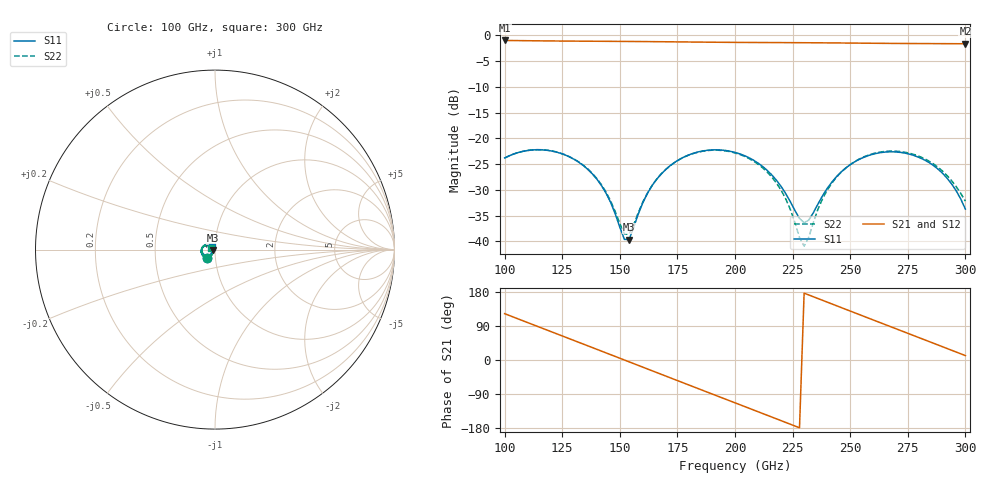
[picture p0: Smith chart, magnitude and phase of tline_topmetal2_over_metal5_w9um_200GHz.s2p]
#  GHZ S DB R 50
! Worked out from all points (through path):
!   101 points, 100 GHz to 300 GHz, reference 50 ohm
!   highest |S21| = -1.02 dB at 100 GHz (marker M1); lowest = -1.7 dB at 300 GHz (marker M2)
!   group delay of S21, straight-line fit = 6.54 ps
!   lowest |S11| = -39.6 dB at 154 GHz (marker M3), VSWR 1.02, Z = 49.1 - j0.445 ohm
!   |S11| at or under -10 dB: start of sweep to end of sweep
!   |S22| runs from -40.9 to -22.2 dB; largest |S21 - S12| = 9.9e-14
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100  -23.81 -132.9  -1.02 122.3  -1.02 122.3  -23.82 -134.0
116  -22.22 -168.1  -1.10 84.6  -1.10 84.6  -22.21 -168.3
124  -22.86 174.7  -1.13 65.9  -1.13 65.9  -22.83 174.8
134  -25.22 154.7  -1.16 42.4  -1.16 42.4  -25.15 155.3
142  -29.13 142.6  -1.18 23.6  -1.18 23.6  -28.98 144.0
152  -39.59 175.3  -1.21 -0.0  -1.21 -0.0  -38.50 175.7
154  -39.64 -154.2  -1.22 -4.7  -1.22 -4.7  -38.64 -158.0
160  -32.47 -119.5  -1.24 -18.9  -1.24 -18.9  -32.34 -123.3
168  -26.89 -125.4  -1.27 -37.8  -1.27 -37.8  -26.89 -127.7
184  -22.64 -155.3  -1.34 -75.5  -1.34 -75.5  -22.68 -157.1
200  -22.73 172.6  -1.39 -113.0  -1.39 -113.0  -22.83 170.1
210  -24.79 154.5  -1.42 -136.5  -1.42 -136.5  -25.01 150.6
218  -28.13 144.6  -1.43 -155.3  -1.43 -155.3  -28.67 138.0
230  -36.35 -177.6  -1.46 176.4  -1.46 176.4  -40.91 -172.3
234  -34.43 -146.5  -1.47 166.9  -1.47 166.9  -36.31 -127.4
240  -29.73 -134.3  -1.49 152.8  -1.49 152.8  -30.06 -121.1
248  -25.78 -141.0  -1.52 133.9  -1.52 133.9  -25.78 -131.9
258  -23.33 -158.0  -1.56 110.4  -1.56 110.4  -23.23 -150.5
268  -22.61 -177.2  -1.59 86.9  -1.59 86.9  -22.47 -170.2
286  -25.23 148.6  -1.63 44.6  -1.63 44.6  -24.92 157.1
294  -28.82 137.4  -1.65 25.8  -1.65 25.8  -28.20 148.3
300  -33.72 138.7  -1.66 11.6  -1.66 11.6  -32.17 152.7
